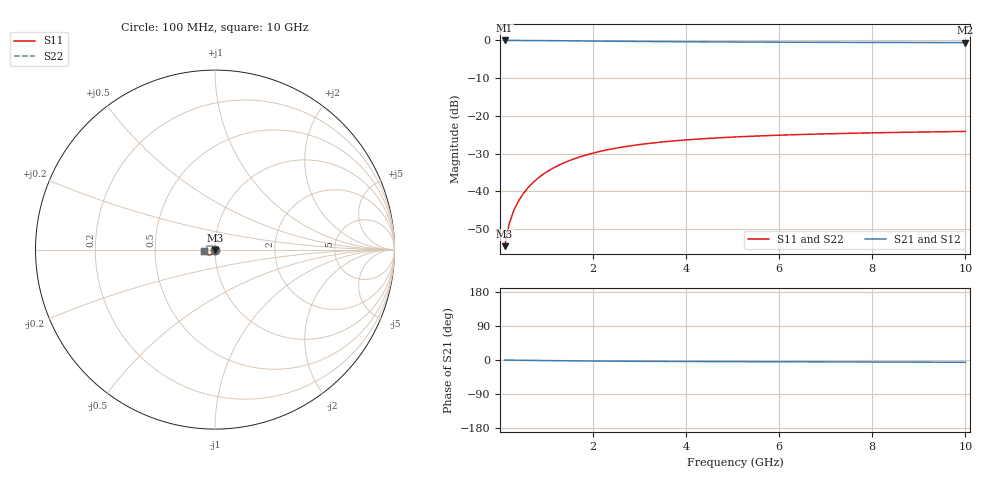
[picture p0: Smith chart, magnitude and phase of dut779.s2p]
! Touchstone file exported from HFSS 2024.1.0
!  File:  C:/UserFiles/LocalFiles/RDL_TSV_Batchsim/temp_TSV1_779_1779874329.aedt
!  Generated:  05:38:32 PM May 27, 2026
!  Design:  TSV1
!  Project:  temp_TSV1_779_1779874329
!  Setup:  Setup1
!  Solution:  Sweep
! Variables:
!  dtsv = 13.08um
!  hbump = 3um
!  htsv = 94.26um
!  lrdl = 252.1521522um
!  p = 40
!  p1 = 55.44um
!  t = 500um
!  trdl = 3um
!  wrdl = 24.89489489um
# GHz S MA R 50.000000
! Terminal data exported
! Port[1] = TSV22_T1
! Port[2] = TSV22_T2
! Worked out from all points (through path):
!   100 points, 100 MHz to 10 GHz, reference 50 ohm
!   highest |S21| = 0.00 dB at 100 MHz (marker M1); lowest = -0.6 dB at 10 GHz (marker M2)
!   lowest |S11| = -54.6 dB at 100 MHz (marker M3), VSWR 1.00, Z = 50 - j0.187 ohm
!   |S11| at or under -10 dB: start of sweep to end of sweep
!   |S22| runs from -54.6 to -24.1 dB; largest |S21 - S12| = 8.7e-15
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0.1  0.001868 -88.9  0.9998 -0.2  0.9998 -0.2  0.001868 -88.9
! Gamma 0 0 0 0
! Port Impedance 50 0 50 0
0.2  0.003733 -92.1  0.9996 -0.3  0.9996 -0.3  0.003733 -92.1
0.3  0.005594 -94.4  0.9993 -0.5  0.9993 -0.5  0.005594 -94.4
0.4  0.007444 -96.5  0.9989 -0.7  0.9989 -0.7  0.007444 -96.5
0.5  0.009276 -98.5  0.9983 -0.8  0.9983 -0.8  0.009276 -98.5
0.6  0.01108 -100.5  0.9977 -1.0  0.9977 -1.0  0.01108 -100.5
0.7  0.01286 -102.4  0.9969 -1.1  0.9969 -1.1  0.01286 -102.4
0.8  0.01461 -104.2  0.9961 -1.3  0.9961 -1.3  0.01461 -104.2
0.9  0.01631 -106.1  0.9952 -1.4  0.9952 -1.4  0.01631 -106.1
1.1  0.0196 -109.6  0.9932 -1.7  0.9932 -1.7  0.0196 -109.6
1.4  0.02418 -114.7  0.9898 -2.1  0.9898 -2.1  0.02418 -114.7
1.6  0.02699 -117.8  0.9873 -2.3  0.9873 -2.3  0.02699 -117.8
1.8  0.02961 -120.8  0.9848 -2.5  0.9848 -2.5  0.02961 -120.8
2.1  0.03317 -125.1  0.9811 -2.8  0.9811 -2.8  0.03317 -125.1
2.5  0.0373 -130.2  0.9761 -3.1  0.9761 -3.1  0.0373 -130.2
2.9  0.0408 -134.8  0.9716 -3.3  0.9716 -3.3  0.0408 -134.8
3.4  0.04443 -139.8  0.9664 -3.6  0.9664 -3.6  0.04443 -139.8
4.2  0.04892 -146.7  0.9594 -4.0  0.9594 -4.0  0.04892 -146.7
5.1  0.05262 -153.0  0.9534 -4.3  0.9534 -4.3  0.05262 -153.0
6.7  0.05705 -161.9  0.9457 -4.9  0.9457 -4.9  0.05705 -161.9
8.4  0.06009 -169.2  0.9405 -5.4  0.9405 -5.4  0.06009 -169.2
10  0.06212 -174.8  0.9371 -6.0  0.9371 -6.0  0.06212 -174.8
